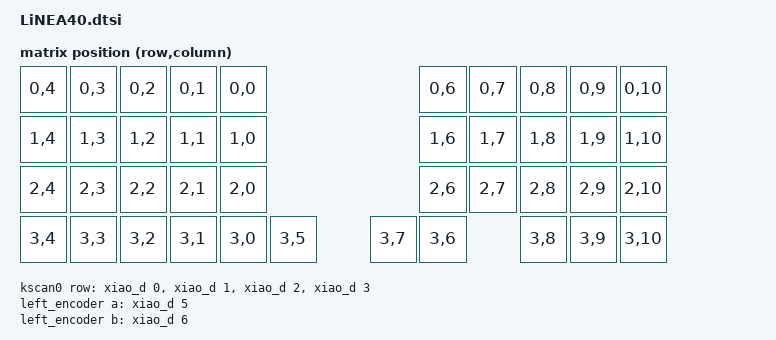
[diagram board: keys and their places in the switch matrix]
#include <dt-bindings/zmk/matrix_transform.h>
#include <physical_layouts.dtsi>
#include <zephyr/dt-bindings/input/input-event-codes.h>
#include <input/processors.dtsi>

/ {
    chosen {
        zmk,physical-layout = &physical_layout0;
    };

    physical_layout0: physical_layout_0 {
        compatible = "zmk,physical-layout";
        display-name = "LiNEA40";
        kscan = <&kscan0>;
        transform = <&default_transform>;
        keys  //                     w   h    x    y     rot    rx    ry
            = <&key_physical_attrs 100 100    0    0       0     0     0>
            , <&key_physical_attrs 100 100  100    0       0     0     0>
            , <&key_physical_attrs 100 100  200    0       0     0     0>
            , <&key_physical_attrs 100 100  300    0       0     0     0>
            , <&key_physical_attrs 100 100  400    0       0     0     0>
            , <&key_physical_attrs 100 100  800    0       0     0     0>
            , <&key_physical_attrs 100 100  900    0       0     0     0>
            , <&key_physical_attrs 100 100 1000    0       0     0     0>
            , <&key_physical_attrs 100 100 1100    0       0     0     0>
            , <&key_physical_attrs 100 100 1200    0       0     0     0>
            , <&key_physical_attrs 100 100    0  100       0     0     0>
            , <&key_physical_attrs 100 100  100  100       0     0     0>
            , <&key_physical_attrs 100 100  200  100       0     0     0>
            , <&key_physical_attrs 100 100  300  100       0     0     0>
            , <&key_physical_attrs 100 100  400  100       0     0     0>
            , <&key_physical_attrs 100 100  800  100       0     0     0>
            , <&key_physical_attrs 100 100  900  100       0     0     0>
            , <&key_physical_attrs 100 100 1000  100       0     0     0>
            , <&key_physical_attrs 100 100 1100  100       0     0     0>
            , <&key_physical_attrs 100 100 1200  100       0     0     0>
            , <&key_physical_attrs 100 100    0  200       0     0     0>
            , <&key_physical_attrs 100 100  100  200       0     0     0>
            , <&key_physical_attrs 100 100  200  200       0     0     0>
            , <&key_physical_attrs 100 100  300  200       0     0     0>
            , <&key_physical_attrs 100 100  400  200       0     0     0>
            , <&key_physical_attrs 100 100  800  200       0     0     0>
            , <&key_physical_attrs 100 100  900  200       0     0     0>
            , <&key_physical_attrs 100 100 1000  200       0     0     0>
            , <&key_physical_attrs 100 100 1100  200       0     0     0>
            , <&key_physical_attrs 100 100 1200  200       0     0     0>
            , <&key_physical_attrs 100 100    0  300       0     0     0>
            , <&key_physical_attrs 100 100  100  300       0     0     0>
            , <&key_physical_attrs 100 100  200  300       0     0     0>
            , <&key_physical_attrs 100 100  300  300       0     0     0>
            , <&key_physical_attrs 100 100  400  300       0     0     0>
            , <&key_physical_attrs 100 100  500  300       0     0     0>
            , <&key_physical_attrs 100 100  700  300       0     0     0>
            , <&key_physical_attrs 100 100  800  300       0     0     0>
            , <&key_physical_attrs 100 100 1000  300       0     0     0>
            , <&key_physical_attrs 100 100 1100  300       0     0     0>
            , <&key_physical_attrs 100 100 1200  300       0     0     0>
            ;
    };

    default_transform: keymap_transform0 {
        compatible = "zmk,matrix-transform";
        columns = <11>;
        rows = <4>; 
        map = <
            RC(0,4) RC(0,3) RC(0,2) RC(0,1) RC(0,0)                 RC(0,6) RC(0,7) RC(0,8) RC(0,9) RC(0,10)
            RC(1,4) RC(1,3) RC(1,2) RC(1,1) RC(1,0)                 RC(1,6) RC(1,7) RC(1,8) RC(1,9) RC(1,10)
            RC(2,4) RC(2,3) RC(2,2) RC(2,1) RC(2,0)                 RC(2,6) RC(2,7) RC(2,8) RC(2,9) RC(2,10)
            RC(3,4) RC(3,3) RC(3,2) RC(3,1) RC(3,0) RC(3,5) RC(3,7) RC(3,6)         RC(3,8) RC(3,9) RC(3,10)
        >;
    };

    kscan0: kscan0 {
        compatible = "zmk,kscan-gpio-matrix";
        diode-direction = "col2row";

        row-gpios
            = <&xiao_d 0 (GPIO_ACTIVE_HIGH | GPIO_PULL_DOWN)>   //row0-D0
            , <&xiao_d 1 (GPIO_ACTIVE_HIGH | GPIO_PULL_DOWN)>   //row1-D1
            , <&xiao_d 2 (GPIO_ACTIVE_HIGH | GPIO_PULL_DOWN)>   //row2-D2
            , <&xiao_d 3 (GPIO_ACTIVE_HIGH | GPIO_PULL_DOWN)>   //row3-D3
            ;
    };

    left_encoder: encoder_left {
        compatible = "alps,ec11";
        a-gpios = <&xiao_d 5 (GPIO_ACTIVE_HIGH | GPIO_PULL_UP)>;
        b-gpios = <&xiao_d 6 (GPIO_ACTIVE_HIGH | GPIO_PULL_UP)>;
        steps = <24>;
        status = "disabled";
    };

    sensors: sensors {
        compatible = "zmk,keymap-sensors";
        sensors = <&left_encoder>;
        triggers-per-rotation = <8>;
    };

    trackball_listener: trackball_listener {
        compatible = "zmk,input-listener";
        status = "disabled";
    };
};

// keymap (左右共通) の scroller から参照されるため、左右両方で読み込む。
// keys.h が RC() を再定義するので、matrix transform より後に置くこと。
#include <input/processors/runtime-input-processor.dtsi>
